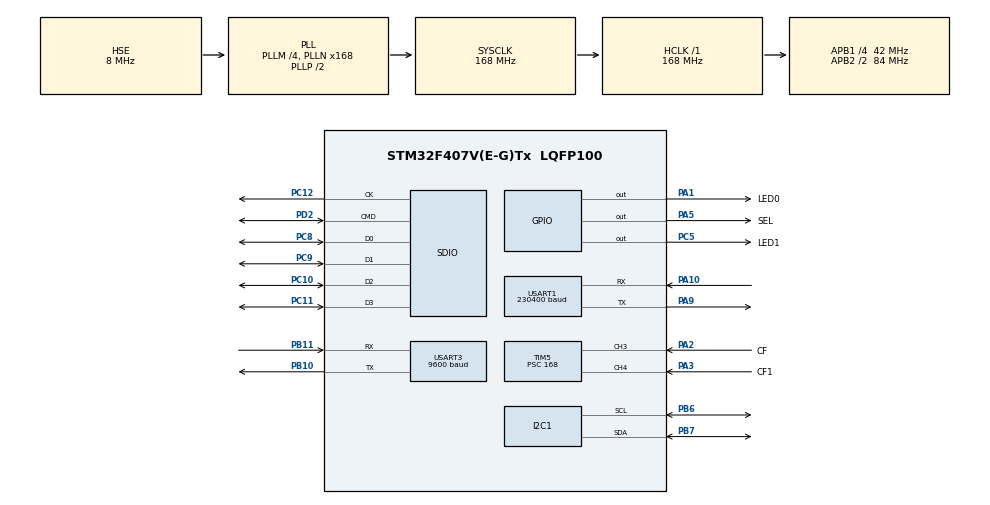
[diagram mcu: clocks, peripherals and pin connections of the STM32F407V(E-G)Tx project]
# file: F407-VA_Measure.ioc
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FATFS._MAX_LFN=255
FATFS._USE_LFN=1
Mcu.Family=STM32F4
Mcu.Name=STM32F407V(E-G)Tx
Mcu.Package=LQFP100
NVIC.PriorityGroup=NVIC_PRIORITYGROUP_4
NVIC.TIM3_IRQn=true\:0\:0\:false\:false\:true\:true\:true\:true
NVIC.TIM5_IRQn=true\:0\:0\:false\:false\:true\:true\:true\:true
PA1.GPIO_Label=LED0
PA1.Signal=GPIO_Output
PA10.Mode=Asynchronous
PA10.Signal=USART1_RX
PA13.Mode=Serial_Wire
PA13.Signal=SYS_JTMS-SWDIO
PA14.Mode=Serial_Wire
PA14.Signal=SYS_JTCK-SWCLK
PA2.GPIO_Label=CF
PA2.GPIO_PuPd=GPIO_NOPULL
PA2.Signal=S_TIM5_CH3
PA3.GPIO_Label=CF1
PA3.GPIO_PuPd=GPIO_NOPULL
PA3.Signal=S_TIM5_CH4
PA5.GPIO_Label=SEL
PA5.Signal=GPIO_Output
PA9.Mode=Asynchronous
PA9.Signal=USART1_TX
PB10.Mode=Asynchronous
PB10.Signal=USART3_TX
PB11.Mode=Asynchronous
PB11.Signal=USART3_RX
PB6.Mode=I2C
PB6.Signal=I2C1_SCL
PB7.Mode=I2C
PB7.Signal=I2C1_SDA
PC10.Mode=SD_4_bits_Wide_bus
PC10.Signal=SDIO_D2
PC11.Mode=SD_4_bits_Wide_bus
PC11.Signal=SDIO_D3
PC12.Mode=SD_4_bits_Wide_bus
PC12.Signal=SDIO_CK
PC14-OSC32_IN.Mode=LSE-External-Oscillator
PC14-OSC32_IN.Signal=RCC_OSC32_IN
PC15-OSC32_OUT.Mode=LSE-External-Oscillator
PC15-OSC32_OUT.Signal=RCC_OSC32_OUT
PC5.GPIO_Label=LED1
PC5.Signal=GPIO_Output
PC8.Mode=SD_4_bits_Wide_bus
PC8.Signal=SDIO_D0
PC9.Mode=SD_4_bits_Wide_bus
PC9.Signal=SDIO_D1
PD14.Signal=S_TIM4_CH3
PD2.Mode=SD_4_bits_Wide_bus
PD2.Signal=SDIO_CMD
PH0-OSC_IN.Mode=HSE-External-Oscillator
PH0-OSC_IN.Signal=RCC_OSC_IN
PH1-OSC_OUT.Mode=HSE-External-Oscillator
PH1-OSC_OUT.Signal=RCC_OSC_OUT
ProjectManager.HeapSize=0x1600
ProjectManager.StackSize=0x2048
ProjectManager.TargetToolchain=STM32CubeIDE
RCC.48MHZClocksFreq_Value=48000000
RCC.AHBFreq_Value=168000000
RCC.APB1CLKDivider=RCC_HCLK_DIV4
RCC.APB1Freq_Value=42000000
RCC.APB1TimFreq_Value=84000000
RCC.APB2CLKDivider=RCC_HCLK_DIV2
RCC.APB2Freq_Value=84000000
RCC.APB2TimFreq_Value=168000000
RCC.CortexFreq_Value=168000000
RCC.HCLKFreq_Value=168000000
RCC.HSE_VALUE=8000000
RCC.HSI_VALUE=16000000
RCC.PLLM=4
RCC.PLLN=168
RCC.PLLQ=7
RCC.PLLSourceVirtual=RCC_PLLSOURCE_HSE
RCC.SYSCLKFreq_VALUE=168000000
RCC.SYSCLKSource=RCC_SYSCLKSOURCE_PLLCLK
RCC.VCOOutputFreq_Value=336000000
SDIO.ClockDiv=10
SH.S_TIM4_CH3.0=TIM4_CH3
SH.S_TIM5_CH3.0=TIM5_CH3,Input_Capture3_from_TI3
SH.S_TIM5_CH4.0=TIM5_CH4,Input_Capture4_from_TI4
STMicroelectronics.X-CUBE-AI.7.3.0.ActivationBufferSizeList=512
STMicroelectronics.X-CUBE-AI.7.3.0.ActivationBuffers=pool0
STMicroelectronics.X-CUBE-AI.7.3.0.ActivationNames=pool0
STMicroelectronics.X-CUBE-AI.7.3.0.ActivationSizes=AI_NETWORK_DATA_ACTIVATION_1_SIZE
STMicroelectronics.X-CUBE-AI.7.3.0.HeapSize=0x1600
STMicroelectronics.X-CUBE-AI.7.3.0.InternalRamActivationBufferMaxSize=AI_NETWORK_DATA_ACTIVATIONS_SIZE
STMicroelectronics.X-CUBE-AI.7.3.0.LatestDirectoryUsed-444696a8f86772ed4c4421baab0bb3a07250ac7022be21e2958260b41a294e01=/home/kohigashi/Projects/XCube_AITest
STMicroelectronics.X-CUBE-AI.7.3.0.MaximumNumberOfInputLayer=1
STMicroelectronics.X-CUBE-AI.7.3.0.MaximumNumberOfOutputLayer=1
STMicroelectronics.X-CUBE-AI.7.3.0.MaximumSizeOfInputLayer=1
STMicroelectronics.X-CUBE-AI.7.3.0.MaximumSizeOfOutputLayer=1
STMicroelectronics.X-CUBE-AI.7.3.0.ModelActualCompression-444696a8f86772ed4c4421baab0bb3a07250ac7022be21e2958260b41a294e01=0.0
STMicroelectronics.X-CUBE-AI.7.3.0.ModelCompression-444696a8f86772ed4c4421baab0bb3a07250ac7022be21e2958260b41a294e01=None
STMicroelectronics.X-CUBE-AI.7.3.0.ModelFlashOccupation-444696a8f86772ed4c4421baab0bb3a07250ac7022be21e2958260b41a294e01=18708
STMicroelectronics.X-CUBE-AI.7.3.0.ModelHashList=444696a8f86772ed4c4421baab0bb3a07250ac7022be21e2958260b41a294e01
STMicroelectronics.X-CUBE-AI.7.3.0.ModelKind-444696a8f86772ed4c4421baab0bb3a07250ac7022be21e2958260b41a294e01=TFLITE
STMicroelectronics.X-CUBE-AI.7.3.0.ModelMacc-444696a8f86772ed4c4421baab0bb3a07250ac7022be21e2958260b41a294e01=4880
STMicroelectronics.X-CUBE-AI.7.3.0.ModelName-444696a8f86772ed4c4421baab0bb3a07250ac7022be21e2958260b41a294e01=network
STMicroelectronics.X-CUBE-AI.7.3.0.ModelNameList=network
STMicroelectronics.X-CUBE-AI.7.3.0.ModelRamOccupation-444696a8f86772ed4c4421baab0bb3a07250ac7022be21e2958260b41a294e01=512
STMicroelectronics.X-CUBE-AI.7.3.0.ModelStructureFile-444696a8f86772ed4c4421baab0bb3a07250ac7022be21e2958260b41a294e01=NN_Model1.tflite
STMicroelectronics.X-CUBE-AI.7.3.0.ModelType-444696a8f86772ed4c4421baab0bb3a07250ac7022be21e2958260b41a294e01=STM32Cube.AI runtime
STMicroelectronics.X-CUBE-AI.7.3.0.ReadyForCodeGeneration=true
STMicroelectronics.X-CUBE-AI.7.3.0.StackSize=0x2048
STMicroelectronics.X-CUBE-AI.7.3.0.WorkingBufferStartAddrList=0xFFFFFFFF
STMicroelectronics.X-CUBE-AI.7.3.0.XAaCUBEAaAICcArtificialOoIntelligenceJjCore=true
STMicroelectronics.X-CUBE-AI.7.3.0.copyWeightToRam-444696a8f86772ed4c4421baab0bb3a07250ac7022be21e2958260b41a294e01=false
STMicroelectronics.X-CUBE-AI.7.3.0.customLayerConfigEnabled-444696a8f86772ed4c4421baab0bb3a07250ac7022be21e2958260b41a294e01=false
STMicroelectronics.X-CUBE-AI.7.3.0.useInputAllocation-444696a8f86772ed4c4421baab0bb3a07250ac7022be21e2958260b41a294e01=true
STMicroelectronics.X-CUBE-AI.7.3.0.useOutputAllocation-444696a8f86772ed4c4421baab0bb3a07250ac7022be21e2958260b41a294e01=true
TIM3.AutoReloadPreload=TIM_AUTORELOAD_PRELOAD_ENABLE
TIM3.Period=99
TIM3.Prescaler=169
TIM3.TIM_MasterOutputTrigger=TIM_TRGO_UPDATE
TIM5.Channel-Input_Capture3_from_TI3=TIM_CHANNEL_3
TIM5.Channel-Input_Capture4_from_TI4=TIM_CHANNEL_4
TIM5.ICPolarity_CH3=TIM_INPUTCHANNELPOLARITY_RISING
TIM5.ICPolarity_CH4=TIM_INPUTCHANNELPOLARITY_RISING
TIM5.Period=2000000
TIM5.Prescaler=168
USART1.BaudRate=230400
USART1.VirtualMode=VM_ASYNC
USART3.BaudRate=9600
USART3.VirtualMode=VM_ASYNC
VP_CRC_VS_CRC.Mode=CRC_Activate
VP_FATFS_VS_SDIO.Mode=SDIO
VP_RNG_VS_RNG.Mode=RNG_Activate
VP_STMicroelectronics.X-CUBE-AI_VS_ArtificialOoIntelligenceJjXAaCUBEAaAI_7.3.0.Mode=ArtificialOoIntelligenceJjXAaCUBEAaAI
VP_TIM3_VS_ClockSourceINT.Mode=Internal
VP_TIM5_VS_ClockSourceINT.Mode=Internal
board=custom

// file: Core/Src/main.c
/* USER CODE BEGIN Header */
/**
 ******************************************************************************
 * @file           : main.c
 * @brief          : Main program body
 ******************************************************************************
 * @attention
 *
 * Copyright (c) 2023 STMicroelectronics.
 * All rights reserved.
 *
 * This software is licensed under terms that can be found in the LICENSE file
 * in the root directory of this software component.
 * If no LICENSE file comes with this software, it is provided AS-IS.
 *
 ******************************************************************************
 */
/* USER CODE END Header */
#include "main.h"
#include "crc.h"
#include "fatfs.h"
#include "i2c.h"
#include "rng.h"
#include "sdio.h"
#include "tim.h"
#include "usart.h"
#include "gpio.h"

/* USER CODE BEGIN Includes */
#include <stdio.h>
#include <math.h>
#include <string.h>
#include <main_cxx.h>
#include "network.h"
#include "network_data.h"
#include "ds3231_for_stm32_hal.h"
/* USER CODE END Includes */

/* USER CODE BEGIN PTD */
typedef enum {
	NORMAL, SAG, UNDERVOLTAGE, SWELL, OVERVOLTAGE
} Gangguan_t;
/* USER CODE END PTD */

/* USER CODE BEGIN PD */
#define US_PER_VOLT 117120
#define US_PER_mA 2116500
#define US_PER_W 8136000
#define SAMPLE_COUNT 10
/* USER CODE END PD */

/* USER CODE BEGIN PM */
struct PowerLineData {
	float voltage_rms;
	float current_rms;
	float apparent_power;
	float real_power;
	Gangguan_t kondisi;
};
/* USER CODE END PM */

/* USER CODE BEGIN PV */

struct PowerLineData pwr;

char buffer[256];
bool cfx_edgeStates[2];
uint32_t cfx_us[2];

uint32_t cfx_t1[2];
uint32_t cfx_t2[2];
uint32_t cfx_ovc[2];
bool cfx_readCurrent;

uint8_t currentDate = 0;
float voltage_rms;
float current_rms;
float apparent_power;
float real_power;
float t_float = 0.5;
FRESULT fileLastOpenResult;

TIM_HandleTypeDef *cfx_htim = &htim5;
uint32_t cfx_timch[2] = { TIM_CHANNEL_3, TIM_CHANNEL_4 };
HAL_TIM_ActiveChannel cfx_activtimch[2] = { HAL_TIM_ACTIVE_CHANNEL_3,
		HAL_TIM_ACTIVE_CHANNEL_4 };

static ai_handle network = AI_HANDLE_NULL;

AI_ALIGNED(32) static ai_u8 activations[AI_NETWORK_DATA_ACTIVATIONS_SIZE];
AI_ALIGNED(32) static ai_float in_data[AI_NETWORK_IN_1_SIZE];
AI_ALIGNED(32) static ai_float out_data[AI_NETWORK_OUT_1_SIZE];
static ai_buffer *ai_input;
static ai_buffer *ai_output;
/* USER CODE END PV */

void SystemClock_Config(void);
/* USER CODE BEGIN PFP */
/*
 * Bootstrap
 */
int aiInit(void) {
	ai_error err;

	/* Create and initialize the c-model */
	const ai_handle acts[] = { activations };
	err = ai_network_create_and_init(&network, acts, NULL);
	if (err.type != AI_ERROR_NONE) {
		printf("Error INIT AI Network!\r\n");
	};

	/* Reteive pointers to the model's input/output tensors */
	ai_input = ai_network_inputs_get(network, NULL);
	ai_output = ai_network_outputs_get(network, NULL);

	return 0;
}

/*
 * Run inference
 */
int aiRun(const void *in_data, void *out_data) {
	ai_i32 n_batch;
	ai_error err;

	/* 1 - Update IO handlers with the data payload */
	ai_input[0].data = AI_HANDLE_PTR(in_data);
	ai_output[0].data = AI_HANDLE_PTR(out_data);

	/* 2 - Perform the inference */
	n_batch = ai_network_run(network, &ai_input[0], &ai_output[0]);
	if (n_batch != 1) {
		err = ai_network_get_error(network);
		printf("Error Invoking Network!!\r\n");
		return 1;
	};

	return 0;
}

float RandomNumber(float min, float max) {
	uint32_t randomNumber;
	HAL_RNG_GenerateRandomNumber(&hrng, &randomNumber);
	return min + (randomNumber / (float) UINT32_MAX) * (max - min);
}

Gangguan_t ProsesOutput(ai_float *input_data, unsigned int len) {
	ai_float maxValue = input_data[0];
	int maxIndex = 0;
	for (int i = 1; i < len; i++) {
		if (input_data[i] > maxValue) {
			maxValue = input_data[i];
			maxIndex = i;
		}
	}
	return maxIndex;
}

const char* gangguanToString(Gangguan_t g) {
	if (g == NORMAL)
		return "Normal";
	else if (g == SAG)
		return "Sag";
	else if (g == SWELL)
		return "Swell";
	else if (g == UNDERVOLTAGE)
		return "Undervoltage";
	else if (g == OVERVOLTAGE)
		return "Overvoltage";
	return "Unknown";
}

void printUART(const char *str, size_t len) {
	HAL_UART_Transmit(&huart1, (uint8_t*) str, len, HAL_MAX_DELAY);
}

void HAL_TIM_IC_CaptureCallback(TIM_HandleTypeDef *htim) {
	for (int i = 0; i < 2; i++) {
		if ((htim == cfx_htim && (htim->Channel == cfx_activtimch[i]))) {
			if (cfx_edgeStates[i] == 0) {
				// Capture T1 & Reverse The ICU Edge Polarity
				cfx_t1[i] = HAL_TIM_ReadCapturedValue(htim, cfx_timch[i]);
				cfx_edgeStates[i] = 1;
				cfx_ovc[i] = 0;
				__HAL_TIM_SET_CAPTUREPOLARITY(htim, cfx_timch[i],
						TIM_INPUTCHANNELPOLARITY_FALLING);
			} else if (cfx_edgeStates[i] == 1) {
				cfx_t2[i] = HAL_TIM_ReadCapturedValue(htim, cfx_timch[i]);
				cfx_us[i] = (cfx_t2[i] + (cfx_ovc[i] * 2000000)) - cfx_t1[i];
				cfx_edgeStates[i] = 0;
				__HAL_TIM_SET_CAPTUREPOLARITY(htim, cfx_timch[i],
						TIM_INPUTCHANNELPOLARITY_RISING);
				if (htim->Channel == cfx_activtimch[0]) {
					real_power = (float) US_PER_W / (float) cfx_us[i];
					if (real_power > 1000)
						real_power = 0;
				}
			}
		}
	}
}

void HAL_TIM_PeriodElapsedCallback(TIM_HandleTypeDef *htim) {
	if (htim == cfx_htim) { // Period of timer is elapsed, reset CFs Input Capture when it's overflowing for 2 times atleast
		for (int i = 0; i < 2; i++) {
			cfx_ovc[i]++;
			if (cfx_ovc[i] >= 2) {
				if (i == 0) {
					real_power = 0.;
					current_rms = 0.;
				}
				cfx_ovc[i] = 0;
				if (cfx_edgeStates[i] == 1) {
					cfx_edgeStates[i] = 0;
					cfx_us[i] = 0;
					__HAL_TIM_SET_CAPTUREPOLARITY(htim, cfx_timch[i],
							TIM_INPUTCHANNELPOLARITY_RISING);
				}
			}
		}
	}
}
/* USER CODE END PFP */

int main(void)
{

  /* MCU Configuration--------------------------------------------------------*/

  /* Reset of all peripherals, Initializes the Flash interface and the Systick. */
  HAL_Init();

  /* Configure the system clock */
  SystemClock_Config();

  /* Initialize all configured peripherals */
  MX_GPIO_Init();
  MX_USART1_UART_Init();
  MX_TIM3_Init();
  MX_RNG_Init();
  MX_CRC_Init();
  MX_TIM5_Init();
  MX_USART3_UART_Init();
  MX_I2C1_Init();
  MX_FATFS_Init();
  MX_SDIO_SD_Init();

  /* Infinite loop */
  /* USER CODE BEGIN WHILE */

	HAL_TIM_Base_Start_IT(cfx_htim);
	HAL_TIM_IC_Start_IT(cfx_htim, cfx_timch[0]);
	HAL_TIM_IC_Start_IT(cfx_htim, cfx_timch[1]);
	HAL_TIM_Base_Start_IT(&htim3);
	aiInit();
	DS3231_Init(&hi2c1);
	HAL_Delay(1000);
	FATFS fs;  // file system
	FRESULT fresult = f_mount(&fs, "/", 1);
	if (fresult != FR_OK) {
		while (1) {
			HAL_GPIO_TogglePin(LED0_GPIO_Port, LED0_Pin);
			HAL_Delay(100);
		}
	}
	while (1) {
		static uint32_t lastTick;
		static Gangguan_t lastGangguan;
		char namaGangguan[16];
		FIL file;

		HAL_GPIO_TogglePin(LED0_GPIO_Port, LED0_Pin);
		if (cfx_readCurrent)
			current_rms = (float) US_PER_mA / (float) cfx_us[1];
		else
			voltage_rms = (float) US_PER_VOLT / (float) cfx_us[1];
		if (real_power == 0.)
			current_rms = 0.;
		apparent_power = voltage_rms * current_rms / 1000.;
		t_float += ((float) HAL_GetTick() - (float) lastTick) / 1000.;
		if (t_float >= 120.)
			t_float = 120.;
		in_data[0] = t_float;
		in_data[1] = voltage_rms;
		aiRun(in_data, out_data);
		Gangguan_t gangguan = ProsesOutput(out_data, 5);
		if (lastGangguan != gangguan
				&& !(lastGangguan == SWELL && gangguan == OVERVOLTAGE)
				&& !(lastGangguan == SAG && gangguan == UNDERVOLTAGE))
			t_float = 0.5;
		sprintf(buffer, "%.2fV %.2fmA %.2fVA %.2fW %.2fs %s\r\n", voltage_rms,
				current_rms, apparent_power, real_power, t_float,
				gangguanToString(gangguan));
		printUART(buffer, strlen(buffer));

		sprintf(buffer, "%u_%u_%u.csv", DS3231_GetDate(), DS3231_GetMonth(),
				DS3231_GetYear());
		fresult = f_open(&file, buffer,
				FA_OPEN_APPEND | FA_WRITE | FA_READ);
		if(fresult != FR_OK){
			while (1) {
				HAL_GPIO_TogglePin(LED0_GPIO_Port, LED0_Pin);
				HAL_Delay(100);
			}
		}
		sprintf(buffer,
				"%d:%d:%d,%.2fV,%.2fmA,%.2fVA,%.2fW,%.2fs,%s\n",
				DS3231_GetHour(), DS3231_GetMinute(), DS3231_GetSecond(),
				voltage_rms, current_rms, apparent_power, real_power, t_float,
				gangguanToString(gangguan));
		int writtenBytes = f_puts(buffer, &file);
		if(writtenBytes < 0){
			while (1) {
				HAL_GPIO_TogglePin(LED0_GPIO_Port, LED0_Pin);
				HAL_Delay(100);
			}
		}
		f_close(&file);
		pwr.voltage_rms = voltage_rms;
		pwr.current_rms = current_rms;
		pwr.apparent_power = apparent_power;
		pwr.real_power = real_power;
		pwr.kondisi = gangguan;
		HAL_UART_Transmit(&huart3, (uint8_t*) &pwr,
				sizeof(struct PowerLineData), HAL_MAX_DELAY);
		bool copy_readCurrent = cfx_readCurrent; // prevent to be toggled from interrupt before switching SEL
		HAL_GPIO_TogglePin(SEL_GPIO_Port, SEL_Pin);
		lastTick = HAL_GetTick();
		lastGangguan = gangguan;
		if (copy_readCurrent)
			HAL_Delay(500);
		else
			HAL_Delay(2000);
    /* USER CODE END WHILE */

	}
}

void SystemClock_Config(void)
{
  RCC_OscInitTypeDef RCC_OscInitStruct = {0};
  RCC_ClkInitTypeDef RCC_ClkInitStruct = {0};

  /** Configure the main internal regulator output voltage
  */
  __HAL_RCC_PWR_CLK_ENABLE();
  __HAL_PWR_VOLTAGESCALING_CONFIG(PWR_REGULATOR_VOLTAGE_SCALE1);

  /** Initializes the RCC Oscillators according to the specified parameters
  * in the RCC_OscInitTypeDef structure.
  */
  RCC_OscInitStruct.OscillatorType = RCC_OSCILLATORTYPE_LSI|RCC_OSCILLATORTYPE_HSE;
  RCC_OscInitStruct.HSEState = RCC_HSE_ON;
  RCC_OscInitStruct.LSIState = RCC_LSI_ON;
  RCC_OscInitStruct.PLL.PLLState = RCC_PLL_ON;
  RCC_OscInitStruct.PLL.PLLSource = RCC_PLLSOURCE_HSE;
  RCC_OscInitStruct.PLL.PLLM = 4;
  RCC_OscInitStruct.PLL.PLLN = 168;
  RCC_OscInitStruct.PLL.PLLP = RCC_PLLP_DIV2;
  RCC_OscInitStruct.PLL.PLLQ = 7;
  if (HAL_RCC_OscConfig(&RCC_OscInitStruct) != HAL_OK)
  {
    Error_Handler();
  }

  /** Initializes the CPU, AHB and APB buses clocks
  */
  RCC_ClkInitStruct.ClockType = RCC_CLOCKTYPE_HCLK|RCC_CLOCKTYPE_SYSCLK
                              |RCC_CLOCKTYPE_PCLK1|RCC_CLOCKTYPE_PCLK2;
  RCC_ClkInitStruct.SYSCLKSource = RCC_SYSCLKSOURCE_PLLCLK;
  RCC_ClkInitStruct.AHBCLKDivider = RCC_SYSCLK_DIV1;
  RCC_ClkInitStruct.APB1CLKDivider = RCC_HCLK_DIV4;
  RCC_ClkInitStruct.APB2CLKDivider = RCC_HCLK_DIV2;

  if (HAL_RCC_ClockConfig(&RCC_ClkInitStruct, FLASH_LATENCY_5) != HAL_OK)
  {
    Error_Handler();
  }
}

void Error_Handler(void)
{
	__disable_irq();
	while (1) {
	}
}
